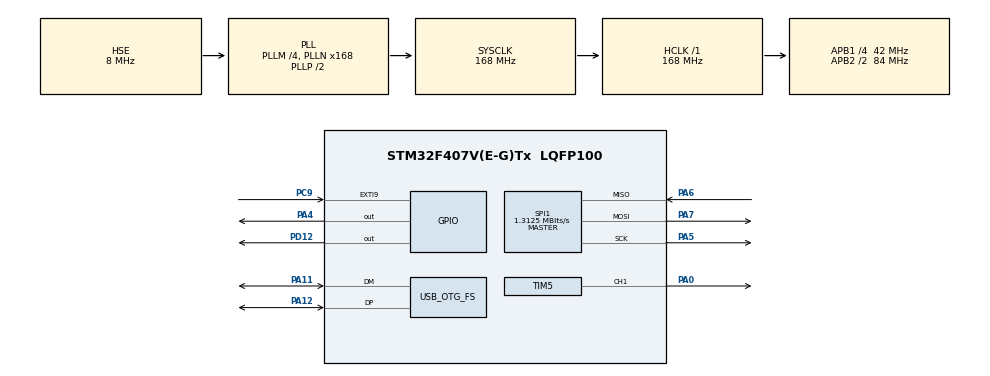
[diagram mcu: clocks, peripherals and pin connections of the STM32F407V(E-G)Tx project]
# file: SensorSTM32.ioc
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Mcu.Family=STM32F4
Mcu.Name=STM32F407V(E-G)Tx
Mcu.Package=LQFP100
NVIC.EXTI9_5_IRQn=true\:0\:0\:false\:false\:true\:true\:true
NVIC.OTG_FS_IRQn=true\:5\:0\:true\:false\:true\:false\:true
NVIC.PriorityGroup=NVIC_PRIORITYGROUP_4
NVIC.TIM5_IRQn=true\:0\:0\:false\:false\:true\:true\:true
PA0-WKUP.Signal=S_TIM5_CH1
PA11.Mode=Device_Only
PA11.Signal=USB_OTG_FS_DM
PA12.Mode=Device_Only
PA12.Signal=USB_OTG_FS_DP
PA4.Signal=GPIO_Output
PA5.Mode=Full_Duplex_Master
PA5.Signal=SPI1_SCK
PA6.Mode=Full_Duplex_Master
PA6.Signal=SPI1_MISO
PA7.Mode=Full_Duplex_Master
PA7.Signal=SPI1_MOSI
PC9.Signal=GPXTI9
PD12.Signal=GPIO_Output
PH0-OSC_IN.Mode=HSE-External-Oscillator
PH0-OSC_IN.Signal=RCC_OSC_IN
PH1-OSC_OUT.Mode=HSE-External-Oscillator
PH1-OSC_OUT.Signal=RCC_OSC_OUT
ProjectManager.HeapSize=0x200
ProjectManager.StackSize=0x400
ProjectManager.TargetToolchain=STM32CubeIDE
RCC.48MHZClocksFreq_Value=48000000
RCC.AHBFreq_Value=168000000
RCC.APB1CLKDivider=RCC_HCLK_DIV4
RCC.APB1Freq_Value=42000000
RCC.APB1TimFreq_Value=84000000
RCC.APB2CLKDivider=RCC_HCLK_DIV2
RCC.APB2Freq_Value=84000000
RCC.APB2TimFreq_Value=168000000
RCC.CortexFreq_Value=168000000
RCC.HCLKFreq_Value=168000000
RCC.HSE_VALUE=8000000
RCC.HSI_VALUE=16000000
RCC.LSE_VALUE=32768
RCC.PLLM=4
RCC.PLLN=168
RCC.PLLQ=7
RCC.SYSCLKFreq_VALUE=168000000
RCC.SYSCLKSource=RCC_SYSCLKSOURCE_PLLCLK
RCC.VCOOutputFreq_Value=336000000
RTC.AsynchPrediv=32-1
RTC.SynchPrediv=10000-1
SH.S_TIM5_CH1.0=TIM5_CH1,Output Compare1 CH1
SPI1.BaudRatePrescaler=SPI_BAUDRATEPRESCALER_64
SPI1.CalculateBaudRate=1.3125 MBits/s
SPI1.Direction=SPI_DIRECTION_2LINES
SPI1.Mode=SPI_MODE_MASTER
SPI1.VirtualType=VM_MASTER
TIM5.Channel-Output\ Compare1\ CH1=TIM_CHANNEL_1
TIM5.OCMode_1=TIM_OCMODE_TOGGLE
TIM5.Period=28000000 - 1
TIM5.Prescaler=3-1
USB_DEVICE.CLASS_NAME_FS=CDC
USB_DEVICE.VirtualMode-CDC_FS=Cdc
USB_DEVICE.VirtualModeFS=Cdc_FS
USB_OTG_FS.VirtualMode=Device_Only
VP_RTC_VS_RTC_Activate.Mode=RTC_Enabled
VP_TIM5_VS_ClockSourceINT.Mode=Internal
VP_USB_DEVICE_VS_USB_DEVICE_CDC_FS.Mode=CDC_FS
board=custom

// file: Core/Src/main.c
/* USER CODE BEGIN Header */
/**
  ******************************************************************************
  * @file           : main.c
  * @brief          : Main program body
  ******************************************************************************
  * @attention
  *
  * <h2><center>&copy; Copyright (c) 2021 STMicroelectronics.
  * All rights reserved.</center></h2>
  *
  * This software component is licensed by ST under Ultimate Liberty license
  * SLA0044, the "License"; You may not use this file except in compliance with
  * the License. You may obtain a copy of the License at:
  *                             www.st.com/SLA0044
  *
  ******************************************************************************
  */
/* USER CODE END Header */
#include "main.h"
#include "usb_device.h"

/* USER CODE BEGIN Includes */
#include "usbd_cdc_if.h"
/* USER CODE END Includes */

/* USER CODE BEGIN PD */
#define MPU9250_DATA_SIZE   22
#define PWR_MGMT_1_REG      107
#define INT_ENABLE_REG      56
#define INT_PIN_CFG_REG     55
#define CONFIG_REG          26
#define WHO_AM_I_REG        117
#define ACCEL_DATA_REG      59

#define SPI_CONTROL_GPIOX   GPIOA
#define SPI_CONTROL_PIN     GPIO_PIN_4
/* USER CODE END PD */

RTC_HandleTypeDef hrtc;

SPI_HandleTypeDef hspi1;

TIM_HandleTypeDef htim5;

/* USER CODE BEGIN PV */
uint32_t ElapsedSeconds = 0;
uint32_t TimeTIM5;
uint8_t ReadIMUFlag = 0;
uint8_t RawDataIMU[MPU9250_DATA_SIZE];
uint8_t DataToSend[MPU9250_DATA_SIZE];
/* USER CODE END PV */

void SystemClock_Config(void);
static void MX_GPIO_Init(void);
static void MX_RTC_Init(void);
static void MX_SPI1_Init(void);
static void MX_TIM5_Init(void);
/* USER CODE BEGIN PFP */
uint16_t setupMPU(void);
HAL_StatusTypeDef writeRegSPI(uint8_t tDataByte, uint8_t tRegAddress, uint32_t tTimeout);
HAL_StatusTypeDef readRegSPI(uint8_t* tDestData, size_t tSize, uint8_t tRegAddress, uint32_t tTimeout);
void fillPacket();
/* USER CODE END PFP */

int main(void)
{

  /* MCU Configuration--------------------------------------------------------*/

  /* Reset of all peripherals, Initializes the Flash interface and the Systick. */
  HAL_Init();

  /* USER CODE BEGIN Init */
#ifdef DEBUG
    if (__HAL_RCC_GET_SYSCLK_SOURCE() == RCC_CFGR_SWS_PLL) {
        HAL_RCC_DeInit();
    }
#endif
  /* USER CODE END Init */

  /* Configure the system clock */
  SystemClock_Config();

  /* Initialize all configured peripherals */
  MX_GPIO_Init();
  MX_RTC_Init();
  MX_SPI1_Init();
  MX_TIM5_Init();
  MX_USB_DEVICE_Init();
  /* USER CODE BEGIN 2 */

    HAL_NVIC_DisableIRQ(EXTI9_5_IRQn);
    setupMPU();
    HAL_NVIC_EnableIRQ(EXTI9_5_IRQn);

    HAL_TIM_OC_Start_IT(&htim5, TIM_CHANNEL_1);
    HAL_Delay(10);

    uint16_t TempVal;
  /* USER CODE END 2 */

  /* Infinite loop */
  /* USER CODE BEGIN WHILE */
  while (1)
  {
      if (ReadIMUFlag == 1) { // if IMU data is ready to be read
          HAL_NVIC_DisableIRQ(EXTI9_5_IRQn);
          ReadIMUFlag = 0;

          readRegSPI(RawDataIMU, 14, ACCEL_DATA_REG, 1000);
          fillPacket();

          while (CDC_Transmit_FS(DataToSend, 22) == USBD_BUSY) {}

          if(__HAL_GPIO_EXTI_GET_IT(GPIO_PIN_9) != RESET) {__HAL_GPIO_EXTI_CLEAR_IT(GPIO_PIN_9);}
          HAL_NVIC_EnableIRQ(EXTI9_5_IRQn);
      }
    /* USER CODE END WHILE */

  }
}

void SystemClock_Config(void)
{
  RCC_OscInitTypeDef RCC_OscInitStruct = {0};
  RCC_ClkInitTypeDef RCC_ClkInitStruct = {0};
  RCC_PeriphCLKInitTypeDef PeriphClkInitStruct = {0};

  /** Configure the main internal regulator output voltage
  */
  __HAL_RCC_PWR_CLK_ENABLE();
  __HAL_PWR_VOLTAGESCALING_CONFIG(PWR_REGULATOR_VOLTAGE_SCALE1);
  /** Initializes the RCC Oscillators according to the specified parameters
  * in the RCC_OscInitTypeDef structure.
  */
  RCC_OscInitStruct.OscillatorType = RCC_OSCILLATORTYPE_LSI|RCC_OSCILLATORTYPE_HSE;
  RCC_OscInitStruct.HSEState = RCC_HSE_ON;
  RCC_OscInitStruct.LSIState = RCC_LSI_ON;
  RCC_OscInitStruct.PLL.PLLState = RCC_PLL_ON;
  RCC_OscInitStruct.PLL.PLLSource = RCC_PLLSOURCE_HSE;
  RCC_OscInitStruct.PLL.PLLM = 4;
  RCC_OscInitStruct.PLL.PLLN = 168;
  RCC_OscInitStruct.PLL.PLLP = RCC_PLLP_DIV2;
  RCC_OscInitStruct.PLL.PLLQ = 7;
  if (HAL_RCC_OscConfig(&RCC_OscInitStruct) != HAL_OK)
  {
    Error_Handler();
  }
  /** Initializes the CPU, AHB and APB buses clocks
  */
  RCC_ClkInitStruct.ClockType = RCC_CLOCKTYPE_HCLK|RCC_CLOCKTYPE_SYSCLK
                              |RCC_CLOCKTYPE_PCLK1|RCC_CLOCKTYPE_PCLK2;
  RCC_ClkInitStruct.SYSCLKSource = RCC_SYSCLKSOURCE_PLLCLK;
  RCC_ClkInitStruct.AHBCLKDivider = RCC_SYSCLK_DIV1;
  RCC_ClkInitStruct.APB1CLKDivider = RCC_HCLK_DIV4;
  RCC_ClkInitStruct.APB2CLKDivider = RCC_HCLK_DIV2;

  if (HAL_RCC_ClockConfig(&RCC_ClkInitStruct, FLASH_LATENCY_5) != HAL_OK)
  {
    Error_Handler();
  }
  PeriphClkInitStruct.PeriphClockSelection = RCC_PERIPHCLK_RTC;
  PeriphClkInitStruct.RTCClockSelection = RCC_RTCCLKSOURCE_LSI;
  if (HAL_RCCEx_PeriphCLKConfig(&PeriphClkInitStruct) != HAL_OK)
  {
    Error_Handler();
  }
}

static void MX_RTC_Init(void)
{

  /** Initialize RTC Only
  */
  hrtc.Instance = RTC;
  hrtc.Init.HourFormat = RTC_HOURFORMAT_24;
  hrtc.Init.AsynchPrediv = 32-1;
  hrtc.Init.SynchPrediv = 10000-1;
  hrtc.Init.OutPut = RTC_OUTPUT_DISABLE;
  hrtc.Init.OutPutPolarity = RTC_OUTPUT_POLARITY_HIGH;
  hrtc.Init.OutPutType = RTC_OUTPUT_TYPE_OPENDRAIN;
  if (HAL_RTC_Init(&hrtc) != HAL_OK)
  {
    Error_Handler();
  }

}

static void MX_SPI1_Init(void)
{

  /* SPI1 parameter configuration*/
  hspi1.Instance = SPI1;
  hspi1.Init.Mode = SPI_MODE_MASTER;
  hspi1.Init.Direction = SPI_DIRECTION_2LINES;
  hspi1.Init.DataSize = SPI_DATASIZE_8BIT;
  hspi1.Init.CLKPolarity = SPI_POLARITY_LOW;
  hspi1.Init.CLKPhase = SPI_PHASE_1EDGE;
  hspi1.Init.NSS = SPI_NSS_SOFT;
  hspi1.Init.BaudRatePrescaler = SPI_BAUDRATEPRESCALER_64;
  hspi1.Init.FirstBit = SPI_FIRSTBIT_MSB;
  hspi1.Init.TIMode = SPI_TIMODE_DISABLE;
  hspi1.Init.CRCCalculation = SPI_CRCCALCULATION_DISABLE;
  hspi1.Init.CRCPolynomial = 10;
  if (HAL_SPI_Init(&hspi1) != HAL_OK)
  {
    Error_Handler();
  }

}

static void MX_TIM5_Init(void)
{

  TIM_ClockConfigTypeDef sClockSourceConfig = {0};
  TIM_MasterConfigTypeDef sMasterConfig = {0};
  TIM_OC_InitTypeDef sConfigOC = {0};

  htim5.Instance = TIM5;
  htim5.Init.Prescaler = 3-1;
  htim5.Init.CounterMode = TIM_COUNTERMODE_UP;
  htim5.Init.Period = 28000000 - 1;
  htim5.Init.ClockDivision = TIM_CLOCKDIVISION_DIV1;
  htim5.Init.AutoReloadPreload = TIM_AUTORELOAD_PRELOAD_DISABLE;
  if (HAL_TIM_Base_Init(&htim5) != HAL_OK)
  {
    Error_Handler();
  }
  sClockSourceConfig.ClockSource = TIM_CLOCKSOURCE_INTERNAL;
  if (HAL_TIM_ConfigClockSource(&htim5, &sClockSourceConfig) != HAL_OK)
  {
    Error_Handler();
  }
  if (HAL_TIM_OC_Init(&htim5) != HAL_OK)
  {
    Error_Handler();
  }
  sMasterConfig.MasterOutputTrigger = TIM_TRGO_RESET;
  sMasterConfig.MasterSlaveMode = TIM_MASTERSLAVEMODE_DISABLE;
  if (HAL_TIMEx_MasterConfigSynchronization(&htim5, &sMasterConfig) != HAL_OK)
  {
    Error_Handler();
  }
  sConfigOC.OCMode = TIM_OCMODE_TOGGLE;
  sConfigOC.Pulse = 0;
  sConfigOC.OCPolarity = TIM_OCPOLARITY_HIGH;
  sConfigOC.OCFastMode = TIM_OCFAST_DISABLE;
  if (HAL_TIM_OC_ConfigChannel(&htim5, &sConfigOC, TIM_CHANNEL_1) != HAL_OK)
  {
    Error_Handler();
  }
  HAL_TIM_MspPostInit(&htim5);

}

static void MX_GPIO_Init(void)
{
  GPIO_InitTypeDef GPIO_InitStruct = {0};

  /* GPIO Ports Clock Enable */
  __HAL_RCC_GPIOH_CLK_ENABLE();
  __HAL_RCC_GPIOA_CLK_ENABLE();
  __HAL_RCC_GPIOD_CLK_ENABLE();
  __HAL_RCC_GPIOC_CLK_ENABLE();

  /*Configure GPIO pin Output Level */
  HAL_GPIO_WritePin(GPIOA, GPIO_PIN_4, GPIO_PIN_RESET);

  /*Configure GPIO pin Output Level */
  HAL_GPIO_WritePin(GPIOD, GPIO_PIN_12, GPIO_PIN_RESET);

  /*Configure GPIO pin : PA4 */
  GPIO_InitStruct.Pin = GPIO_PIN_4;
  GPIO_InitStruct.Mode = GPIO_MODE_OUTPUT_PP;
  GPIO_InitStruct.Pull = GPIO_NOPULL;
  GPIO_InitStruct.Speed = GPIO_SPEED_FREQ_LOW;
  HAL_GPIO_Init(GPIOA, &GPIO_InitStruct);

  /*Configure GPIO pin : PD12 */
  GPIO_InitStruct.Pin = GPIO_PIN_12;
  GPIO_InitStruct.Mode = GPIO_MODE_OUTPUT_PP;
  GPIO_InitStruct.Pull = GPIO_NOPULL;
  GPIO_InitStruct.Speed = GPIO_SPEED_FREQ_LOW;
  HAL_GPIO_Init(GPIOD, &GPIO_InitStruct);

  /*Configure GPIO pin : PC9 */
  GPIO_InitStruct.Pin = GPIO_PIN_9;
  GPIO_InitStruct.Mode = GPIO_MODE_IT_RISING;
  GPIO_InitStruct.Pull = GPIO_NOPULL;
  HAL_GPIO_Init(GPIOC, &GPIO_InitStruct);

  /* EXTI interrupt init*/
  HAL_NVIC_SetPriority(EXTI9_5_IRQn, 0, 0);
  HAL_NVIC_EnableIRQ(EXTI9_5_IRQn);

}

/* USER CODE BEGIN 4 */
uint16_t setupMPU(void) {
    uint8_t PwrMngBits = 0;         //---Internal 8Mhz oscillator---//
    uint8_t IntConfigBits = 16;     //---Clear interrupt status by reading---//
    uint8_t SensorConfigBits = 1;   //---Digital low pass filter values---//
    uint8_t InterruptBits = 1;      //---Data Ready interrupt---//

    HAL_StatusTypeDef Result;

    HAL_GPIO_WritePin(GPIOA, GPIO_PIN_4, GPIO_PIN_SET);

    if ((Result = writeRegSPI(PwrMngBits, PWR_MGMT_1_REG, 1000)) != HAL_OK) {
        return Result;
    }
    if ((Result = writeRegSPI(IntConfigBits, INT_PIN_CFG_REG, 1000)) != HAL_OK) {
        return Result;
    }
    if ((Result = writeRegSPI(SensorConfigBits, CONFIG_REG, 1000)) != HAL_OK) {
        return Result;
    }
    if ((Result = writeRegSPI(InterruptBits, INT_ENABLE_REG, 1000)) != HAL_OK) {
        return Result;
    }

    return Result;
}
HAL_StatusTypeDef writeRegSPI(uint8_t tDataByte, uint8_t tRegAddress, uint32_t tTimeout) {
    uint8_t RecvVal;
    HAL_StatusTypeDef Result;

    HAL_GPIO_WritePin(SPI_CONTROL_GPIOX, SPI_CONTROL_PIN, GPIO_PIN_RESET);

    if ((Result = HAL_SPI_TransmitReceive(&hspi1, &tRegAddress, &RecvVal, 1, tTimeout)) != HAL_OK) {
        return Result;
    }
    if ((Result = HAL_SPI_TransmitReceive(&hspi1, &tDataByte, &RecvVal, 1, tTimeout)) != HAL_OK) {
        return Result;
    }

    HAL_GPIO_WritePin(SPI_CONTROL_GPIOX, SPI_CONTROL_PIN, GPIO_PIN_SET);
    HAL_Delay(10);

    return Result;
}
HAL_StatusTypeDef readRegSPI(uint8_t* tDestData, size_t tSize, uint8_t tRegAddress, uint32_t tTimeout) {
    uint8_t InitData = tRegAddress | 0x80;
    HAL_StatusTypeDef Result;

    HAL_GPIO_WritePin(SPI_CONTROL_GPIOX, SPI_CONTROL_PIN, GPIO_PIN_RESET);

    if ((Result = HAL_SPI_Transmit(&hspi1, &InitData, 1, tTimeout)) != HAL_OK) {
        return Result;
    }
    if ((Result = HAL_SPI_Receive(&hspi1, tDestData, tSize, tTimeout)) != HAL_OK) {
        return Result;
    }

    HAL_GPIO_WritePin(SPI_CONTROL_GPIOX, SPI_CONTROL_PIN, GPIO_PIN_SET);
    HAL_Delay(10);

    return Result;
}
void fillPacket() {
    ///---TODO: Add magnetometer---///

    uint16_t TempVal;

    memcpy(DataToSend, &ElapsedSeconds, 4);
    memcpy(DataToSend + 4, &TimeTIM5, 4);

    for (int i = 0; i < 14; i += 2) {
        TempVal = (uint16_t)(RawDataIMU[i] << 8 | RawDataIMU[i + 1]);
        memcpy(DataToSend + i + 8, &TempVal, 2);
    }
}

void HAL_GPIO_EXTI_Callback(uint16_t tPin) {
    if (tPin == GPIO_PIN_9) {
        ReadIMUFlag = 1;
        HAL_GPIO_TogglePin(GPIOD, GPIO_PIN_12);
    }
}
void HAL_TIM_OC_DelayElapsedCallback(TIM_HandleTypeDef* htim) {
    if (htim -> Instance == htim5.Instance) {
        ElapsedSeconds++;
        TimeTIM5 = TIM5 -> CNT;
    }
}
/* USER CODE END 4 */

void Error_Handler(void)
{
  __disable_irq();
  while (1)
  {
  }
}

/************************ (C) COPYRIGHT STMicroelectronics *****END OF FILE****/
